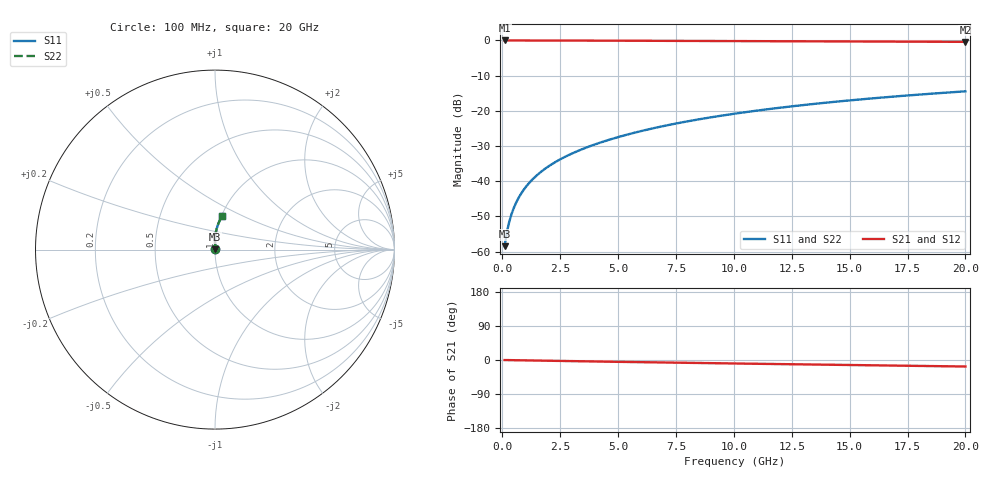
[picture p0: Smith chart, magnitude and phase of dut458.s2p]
! Touchstone file exported from HFSS 2024.1.0
!  File:  C:/UserFiles/LocalFiles/RDL_TSV_Batchsim/temp_RDL_bottom_458_1779685429.aedt
!  Generated:  01:06:06 PM May 25, 2026
!  Design:  RDL_bottom
!  Project:  temp_RDL_bottom_458_1779685429
!  Setup:  Setup1
!  Solution:  Sweep
! Variables:
!  dtsv = 10.80580581um
!  hbump = 3um
!  htsv = 71.72um
!  ldown = 206.88um
!  lrdl = 100um
!  p = 40
!  p1 = 56.9um
!  rhole = 1um
!  t = 450um
!  tdown = 4.67um
!  trdl = 3.915915916um
!  wdown = 24.42um
!  wrdl = 20um
# GHz S MA R 50.000000
! Terminal data exported
! Port[1] = RDL1_T1
! Port[2] = RDL1_T2
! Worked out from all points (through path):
!   200 points, 100 MHz to 20 GHz, reference 50 ohm
!   highest |S21| = -0.01 dB at 100 MHz (marker M1); lowest = -0.4 dB at 20 GHz (marker M2)
!   group delay of S21, straight-line fit = 2.36 ps
!   lowest |S11| = -58.5 dB at 100 MHz (marker M3), VSWR 1.00, Z = 50.1 + j0.0872 ohm
!   |S11| at or under -10 dB: start of sweep to end of sweep
!   |S22| runs from -58.5 to -14.5 dB; largest |S21 - S12| = 4e-15
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0.1  0.001193 46.9  0.9992 -0.1  0.9992 -0.1  0.001193 46.9
! Gamma 0 0 0 0
! Port Impedance 50 0 50 0
0.2  0.001902 63.0  0.9991 -0.2  0.9991 -0.2  0.001902 63.0
0.3  0.002651 70.3  0.9991 -0.3  0.9991 -0.3  0.002651 70.3
0.4  0.003415 74.6  0.999 -0.4  0.999 -0.4  0.003415 74.6
0.5  0.00419 77.5  0.9989 -0.5  0.9989 -0.5  0.00419 77.5
0.6  0.004973 79.5  0.9989 -0.6  0.9989 -0.6  0.004973 79.5
0.8  0.006556 82.2  0.9988 -0.8  0.9988 -0.8  0.006556 82.2
1.1  0.008955 84.5  0.9985 -1.1  0.9985 -1.1  0.008955 84.5
1.5  0.01219 86.3  0.9981 -1.5  0.9981 -1.5  0.01219 86.3
1.8  0.01464 87.2  0.9978 -1.8  0.9978 -1.8  0.01464 87.2
2.1  0.0171 87.9  0.9974 -2.1  0.9974 -2.1  0.0171 87.9
2.7  0.02211 88.8  0.9964 -2.7  0.9964 -2.7  0.02211 88.8
3.5  0.02894 89.6  0.9948 -3.5  0.9948 -3.5  0.02894 89.6
4.2  0.03508 90.0  0.9933 -4.1  0.9933 -4.1  0.03508 90.0
5  0.0423 90.2  0.9914 -4.9  0.9914 -4.9  0.0423 90.2
5.9  0.05064 90.1  0.9892 -5.7  0.9892 -5.7  0.05064 90.1
6.8  0.05919 89.9  0.9869 -6.5  0.9869 -6.5  0.05919 89.9
8.4  0.07479 89.0  0.9828 -7.8  0.9828 -7.8  0.07479 89.0
10.1  0.0917 87.7  0.9786 -9.3  0.9786 -9.3  0.0917 87.7
13.4  0.1247 84.7  0.9707 -12.0  0.9707 -12.0  0.1247 84.7
16.7  0.1574 81.5  0.9629 -14.6  0.9629 -14.6  0.1574 81.5
20  0.1892 78.3  0.9548 -17.2  0.9548 -17.2  0.1892 78.3
